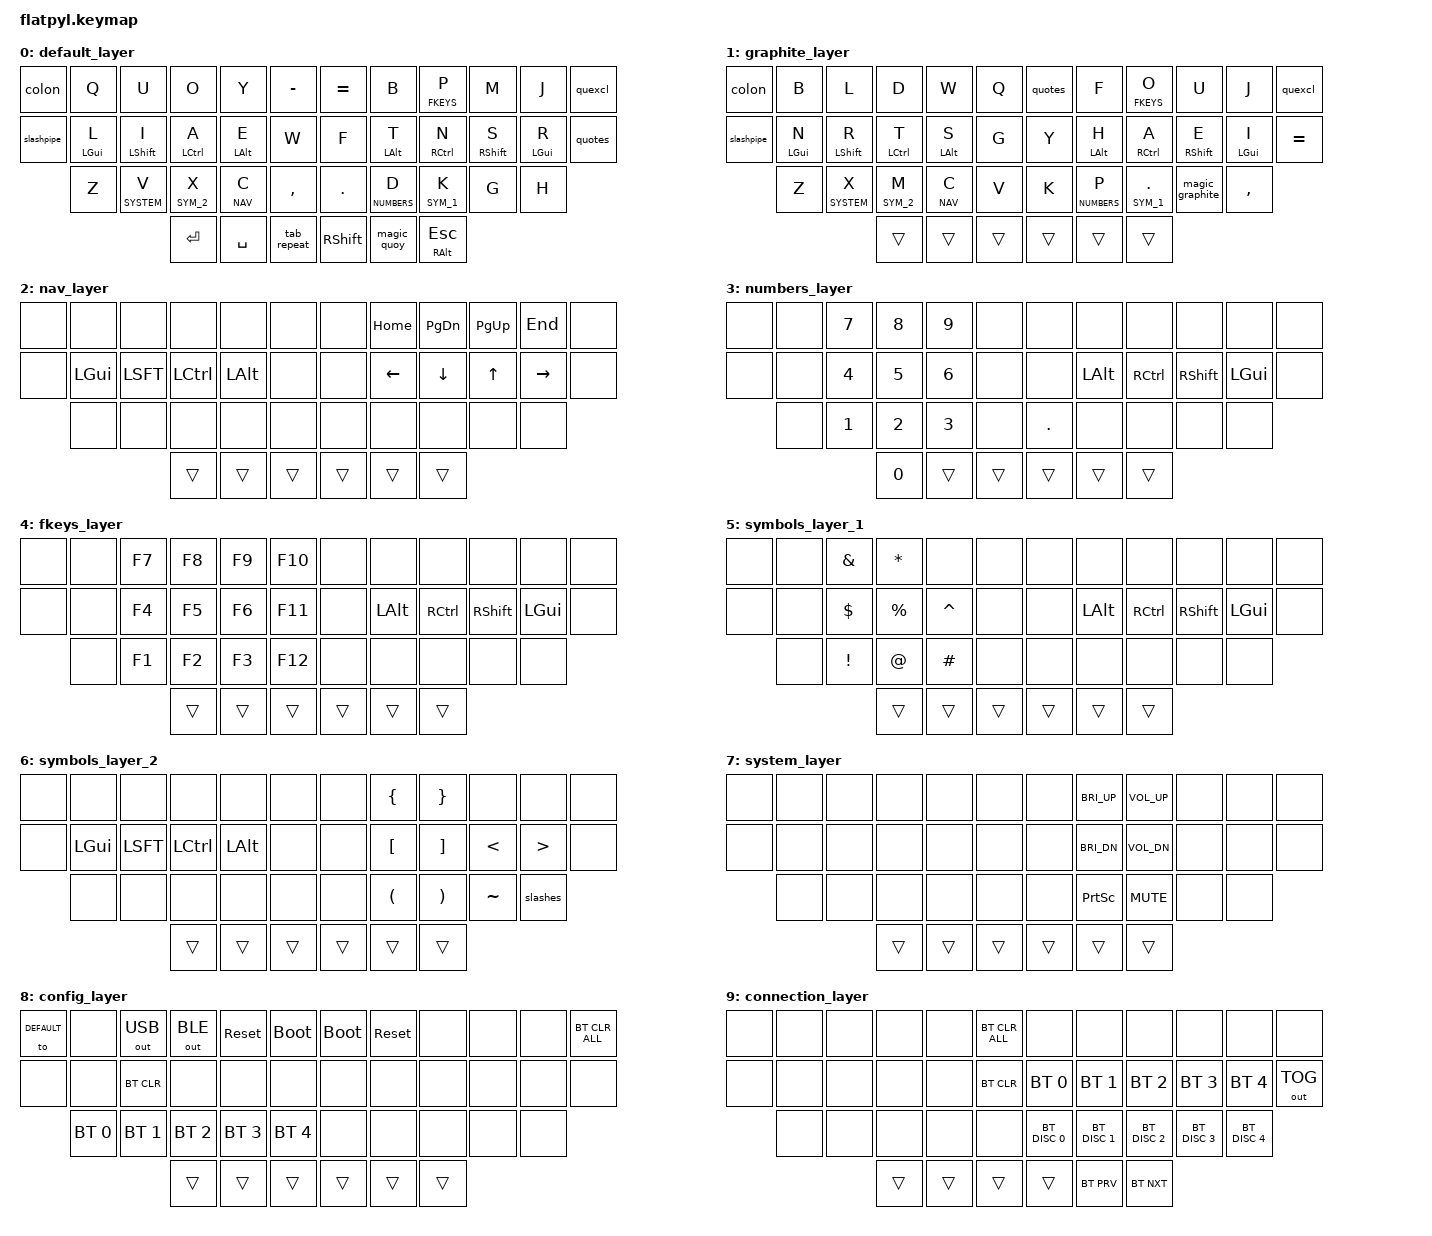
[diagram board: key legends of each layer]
#include <behaviors.dtsi>
#include <dt-bindings/zmk/outputs.h>
#include <dt-bindings/zmk/bt.h>
#include <dt-bindings/zmk/keys.h>

// layers
#define DEFAULT 0
#define GRAPHITE 1
#define NAV 2
#define NUMBERS 3
#define FKEYS 4
#define SYM_1 5
#define SYM_2 6
#define SYSTEM 7
#define CONFIG 8
#define CONNECTION 9

// timings
#define REQUIRE_PRIOR_IDLE_MS 125
#define ADAPTIVE_KEY_TIMEOUT 300

/ {

    behaviors {
        mt2: require_prior_idle_mod_tap {
            compatible = "zmk,behavior-hold-tap";
            #binding-cells = <2>;
            flavor = "tap-preferred";
            tapping-term-ms = <200>;
            quick-tap-ms = <200>;
            require-prior-idle-ms = <REQUIRE_PRIOR_IDLE_MS>;
            bindings = <&kp>, <&kp>;
        };
        lt2: require_prior_idle_momentary_layer {
            compatible = "zmk,behavior-hold-tap";
            #binding-cells = <2>;
            flavor = "tap-preferred";
            tapping-term-ms = <200>;
            quick-tap-ms = <200>;
            require-prior-idle-ms = <REQUIRE_PRIOR_IDLE_MS>;
            bindings = <&mo>, <&kp>;
        };
        colon: flipped_colon {
            compatible = "zmk,behavior-mod-morph";
            #binding-cells = <0>;
            bindings = <&kp COLON>, <&kp SEMICOLON>;
            mods = <(MOD_LSFT|MOD_RSFT)>;
        };
        slashes: both_slashes {
            compatible = "zmk,behavior-mod-morph";
            #binding-cells = <0>;
            bindings = <&kp SLASH>, <&kp BACKSLASH>;
            mods = <(MOD_LSFT|MOD_RSFT)>;
        };
        slashpipe: both_slashes_and_pipe {
            compatible = "zmk,behavior-mod-morph";
            #binding-cells = <0>;
            bindings = <&slashes>, <&kp PIPE>;
            mods = <(MOD_RALT)>;
        };
        quexcl: question_exclam_mark {
            compatible = "zmk,behavior-mod-morph";
            #binding-cells = <0>;
            bindings = <&kp QUESTION>, <&kp EXCL>;
            mods = <(MOD_LSFT|MOD_RSFT)>;
        };
        bspcdel: backspace_delete {
            compatible = "zmk,behavior-mod-morph";
            #binding-cells = <0>;
            bindings = <&kp BSPC>, <&kp DEL>;
            mods = <(MOD_LSFT|MOD_RSFT)>;
        };
        quotes: super_apostrophe {
            compatible = "zmk,behavior-mod-morph";
            #binding-cells = <0>;
            bindings = <&kp APOSTROPHE>, <&kp GRAVE>;
            mods = <(MOD_RALT)>;
        };
        magic_quoy: magic_key_quoy {
            compatible = "zmk,behavior-antecedent-morph";
            label = "magic_key";
            #binding-cells = <0>;
            max-delay-ms = <ADAPTIVE_KEY_TIMEOUT>;
            defaults = <&none>;
            antecedents = <O>;
            bindings =    <&kp X>;
        };
        magic_graphite: magic_key_graphite {
            compatible = "zmk,behavior-antecedent-morph";
            label = "magic_key";
            #binding-cells = <0>;
            max-delay-ms = <ADAPTIVE_KEY_TIMEOUT>;
            defaults = <&kp MINUS>;
            antecedents = <P  R  L  K  S  C>;
            bindings =    <&kp O  &kp L  &kp R  &kp O  &kp C &kp S>;
        };
        tab_repeat: tab_repeat {
            compatible = "zmk,behavior-mod-morph";
            #binding-cells = <0>;
            bindings = <&key_repeat>, <&_tab_repeat_1>;  // if no modifiers are held, key_repeat, else _tab_repeat_1
            mods = <(MOD_LGUI|MOD_RGUI|MOD_LCTL|MOD_RCTL|MOD_LALT|MOD_RALT|MOD_LSFT|MOD_RSFT)>;
            keep-mods = <(MOD_LGUI|MOD_RGUI|MOD_LCTL|MOD_RCTL|MOD_LALT|MOD_RALT|MOD_LSFT|MOD_RSFT)>;
        };
        _tab_repeat_1: _tab_repeat_1 {
            compatible = "zmk,behavior-mod-morph";
            #binding-cells = <0>;
            // We got here from tab_repeat -> means some modifier was being held.
            // If the modifiers held include anything that is not the left shift, press TAB with whatever was being pressed, else _tab_repeat_2.
            bindings = <&_tab_repeat_2>, <&kp TAB>;
            mods = <(MOD_LGUI|MOD_RGUI|MOD_LCTL|MOD_RCTL|MOD_LALT|MOD_RALT|MOD_RSFT)>;
            keep-mods = <(MOD_LGUI|MOD_RGUI|MOD_LCTL|MOD_RCTL|MOD_LALT|MOD_RALT|MOD_LSFT|MOD_RSFT)>;
        };
        _tab_repeat_2: _tab_repeat_2 {
            compatible = "zmk,behavior-mod-morph";
            #binding-cells = <0>;
            // We got here from _tab_repeat_1 -> means ONLY left shift was held.
            // In this case let's do an unshifted tab. We can do the shifted one with right shift.
            bindings = <&kp TAB>, <&kp TAB>;
            mods = <(MOD_LSFT)>;
            keep-mods = <0>;
        };
    };

    keymap {
        compatible = "zmk,keymap";

        default_layer {
            bindings = <
                &colon      &kp Q       &kp        U  &kp        O &kp       Y &kp MINUS          &kp EQUAL &kp B          &lt2 FKEYS P   &kp M        &kp J       &quexcl
                &slashpipe  &mt2 LGUI L &mt2 LSHFT I  &mt2 LCTRL A &mt2 LALT E &kp W              &kp F     &mt2 LALT T    &mt2 RCTRL N   &mt2 RSHFT S &mt2 LGUI R &quotes
                            &kp Z       &lt2 SYSTEM V &lt2 SYM_2 X &lt2 NAV C  &kp COMMA          &kp DOT   &lt2 NUMBERS D &lt2 SYM_1 K   &kp G        &kp H

                                                           &kp ENTER &kp SPACE  &tab_repeat       &kp RSHIFT  &magic_quoy  &mt RALT ESC  
            >;
        };

        graphite_layer {
            bindings = <
                &colon      &kp B       &kp L         &kp D        &kp W       &kp Q              &quotes   &kp F          &lt2 FKEYS O   &kp U           &kp J       &quexcl
                &slashpipe  &mt2 LGUI N &mt2 LSHFT R  &mt2 LCTRL T &mt2 LALT S &kp G              &kp Y     &mt2 LALT H    &mt2 RCTRL A   &mt2 RSHFT E    &mt2 LGUI I &kp EQUAL
                            &kp Z       &lt2 SYSTEM X &lt2 SYM_2 M &lt2 NAV C  &kp V              &kp K     &lt2 NUMBERS P &lt2 SYM_1 DOT &magic_graphite &kp COMMA

                                                               &trans  &trans  &trans             &trans  &trans  &trans
            >;
        };

        nav_layer {
            bindings = <
                &none         &none    &none    &none     &none     &none              &none          &kp HOME  &kp PG_DN &kp PG_UP &kp END   &none
                &none         &kp LGUI &kp LSFT &kp LCTRL &kp LALT  &none              &none          &kp LEFT  &kp DOWN  &kp UP    &kp RIGHT &none
                              &none    &none    &none     &none     &none              &none          &none     &none     &none     &none

                                                    &trans  &trans  &trans             &trans  &trans  &trans
            >;
        };

        numbers_layer {
            bindings = <
                &none         &none    &kp N7   &kp N8    &kp N9    &none              &none          &none     &none     &none     &none     &none
                &none         &none    &kp N4   &kp N5    &kp N6    &none              &none          &kp LALT  &kp RCTL  &kp RSHFT &kp LGUI  &none
                              &none    &kp N1   &kp N2    &kp N3    &none              &kp DOT        &none     &none     &none     &none

                                                    &kp N0  &trans  &trans             &trans  &trans  &trans
            >;
        };

        fkeys_layer {
            bindings = <
                &none         &none    &kp F7   &kp F8    &kp F9    &kp F10            &none          &none     &none     &none     &none     &none
                &none         &none    &kp F4   &kp F5    &kp F6    &kp F11            &none          &kp LALT  &kp RCTL  &kp RSHFT &kp LGUI  &none
                              &none    &kp F1   &kp F2    &kp F3    &kp F12            &none          &none     &none     &none     &none

                                                    &trans  &trans  &trans             &trans  &trans  &trans
            >;
        };

        symbols_layer_1 {
            bindings = <
                &none         &none    &kp AMPERSAND &kp ASTERISK &none     &none              &none          &none     &none     &none     &none     &none
                &none         &none    &kp DOLLAR    &kp PERCENT  &kp CARET &none              &none          &kp LALT  &kp RCTL  &kp RSHFT &kp LGUI  &none
                              &none    &kp EXCL      &kp AT       &kp HASH  &none              &none          &none     &none     &none     &none

                                                     &trans  &trans  &trans                    &trans  &trans  &trans
            >;
        };

        symbols_layer_2 {
            bindings = <
                &none         &none    &none    &none     &none     &none              &none   &kp LBRC  &kp RBRC  &none     &none     &none
                &none         &kp LGUI &kp LSFT &kp LCTRL &kp LALT  &none              &none   &kp LBKT  &kp RBKT  &kp LT    &kp GT    &none
                              &none    &none    &none     &none     &none              &none   &kp LPAR  &kp RPAR  &kp TILDE &slashes

                                                    &trans  &trans  &trans             &trans  &trans  &trans
            >;
        };

        system_layer {
            bindings = <
                &none         &none        &none        &none        &none        &none                  &none          &kp C_BRI_UP &kp K_VOL_UP &none     &none     &none
                &none         &none        &none        &none        &none        &none                  &none          &kp C_BRI_DN &kp K_VOL_DN &none     &none     &none
                              &none        &none        &none        &none        &none                  &none          &kp PSCRN    &kp K_MUTE   &none     &none

                                                                  &trans  &trans  &trans                 &trans  &trans  &trans
            >;
        };

        config_layer {
            bindings = <
                &to DEFAULT   &none        &out OUT_USB &out OUT_BLE &sys_reset   &bootloader            &bootloader    &sys_reset &none     &none     &none     &bt BT_CLR_ALL
                &none         &none        &bt BT_CLR   &none        &none        &none                  &none          &none      &none     &none     &none     &none
                              &bt BT_SEL 0 &bt BT_SEL 1 &bt BT_SEL 2 &bt BT_SEL 3 &bt BT_SEL 4           &none          &none      &none     &none     &none

                                                                  &trans  &trans  &trans                 &trans  &trans  &trans
            >;
        };

        connection_layer {
            bindings = <
                &none         &none        &none        &none        &none        &bt BT_CLR_ALL           &none         &none         &none         &none         &none         &none
                &none         &none        &none        &none        &none        &bt BT_CLR               &bt BT_SEL 0  &bt BT_SEL 1  &bt BT_SEL 2  &bt BT_SEL 3  &bt BT_SEL 4  &out OUT_TOG
                              &none        &none        &none        &none        &none                    &bt BT_DISC 0 &bt BT_DISC 1 &bt BT_DISC 2 &bt BT_DISC 3 &bt BT_DISC 4

                                                                  &trans  &trans  &trans                   &trans  &bt BT_PRV  &bt BT_NXT
            >;
        };
    };

    combos {
        compatible = "zmk,combos";

        combo_tab_1 {
            timeout-ms = <25>;
            key-positions = <3 4>;
            bindings = <&kp TAB>;
        };

        combo_tab_2 {
            timeout-ms = <25>;
            key-positions = <7 8>;
            bindings = <&kp TAB>;
        };

        combo_esc {
            timeout-ms = <25>;
            key-positions = <15 16>;
            bindings = <&kp ESC>;
        };

        combo_backspace {
            timeout-ms = <25>;
            key-positions = <19 20>;
            bindings = <&bspcdel>;
        };

        combo_config_layer {
            timeout-ms = <50>;
            key-positions = <0 1 12 13>;
            bindings = <&to CONFIG>;
        };

        combo_connection_layer {
            timeout-ms = <50>;
            key-positions = <34 35 36>;
            bindings = <&mo CONNECTION>;
        };

        combo_graphite_layer {
            timeout-ms = <50>;
            key-positions = <11 23>;
            bindings = <&tog GRAPHITE>;
        };
    };
};
